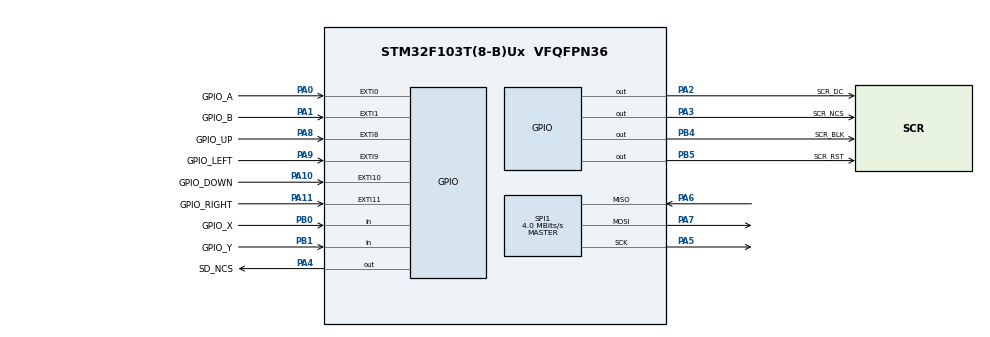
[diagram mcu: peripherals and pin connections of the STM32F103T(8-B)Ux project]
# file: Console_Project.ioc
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FATFS._MAX_SS=4096
FATFS._USE_LFN=1
Mcu.Family=STM32F1
Mcu.Name=STM32F103T(8-B)Ux
Mcu.Package=VFQFPN36
NVIC.EXTI0_IRQn=true\:0\:0\:false\:false\:true\:true\:true\:true
NVIC.EXTI15_10_IRQn=true\:0\:0\:false\:false\:true\:true\:true\:true
NVIC.EXTI1_IRQn=true\:0\:0\:false\:false\:true\:true\:true\:true
NVIC.EXTI9_5_IRQn=true\:0\:0\:false\:false\:true\:true\:true\:true
NVIC.PriorityGroup=NVIC_PRIORITYGROUP_4
PA0-WKUP.GPIO_Label=GPIO_A
PA0-WKUP.Signal=GPXTI0
PA1.GPIO_Label=GPIO_B
PA1.Signal=GPXTI1
PA10.GPIO_Label=GPIO_DOWN
PA10.Signal=GPXTI10
PA11.GPIO_Label=GPIO_RIGHT
PA11.Signal=GPXTI11
PA13.Mode=Trace_Asynchronous_SW
PA13.Signal=SYS_JTMS-SWDIO
PA14.Mode=Trace_Asynchronous_SW
PA14.Signal=SYS_JTCK-SWCLK
PA2.GPIO_Label=SCR_DC
PA2.Signal=GPIO_Output
PA3.GPIO_Label=SCR_NCS
PA3.Signal=GPIO_Output
PA4.GPIO_Label=SD_NCS
PA4.Signal=GPIO_Output
PA5.Mode=Full_Duplex_Master
PA5.Signal=SPI1_SCK
PA6.Mode=Full_Duplex_Master
PA6.Signal=SPI1_MISO
PA7.Mode=Full_Duplex_Master
PA7.Signal=SPI1_MOSI
PA8.GPIO_Label=GPIO_UP
PA8.Signal=GPXTI8
PA9.GPIO_Label=GPIO_LEFT
PA9.Signal=GPXTI9
PB0.GPIO_Label=GPIO_X
PB0.Signal=GPIO_Input
PB1.GPIO_Label=GPIO_Y
PB1.Signal=GPIO_Input
PB3.Mode=Trace_Asynchronous_SW
PB3.Signal=SYS_JTDO-TRACESWO
PB4.GPIO_Label=SCR_BLK
PB4.Signal=GPIO_Output
PB5.GPIO_Label=SCR_RST
PB5.Signal=GPIO_Output
ProjectManager.HeapSize=0x200
ProjectManager.StackSize=0x400
ProjectManager.TargetToolchain=STM32CubeIDE
RCC.APB1Freq_Value=8000000
RCC.APB2Freq_Value=8000000
SPI1.BaudRatePrescaler=SPI_BAUDRATEPRESCALER_2
SPI1.CalculateBaudRate=4.0 MBits/s
SPI1.Direction=SPI_DIRECTION_2LINES
SPI1.Mode=SPI_MODE_MASTER
SPI1.VirtualType=VM_MASTER
VP_FATFS_VS_Generic.Mode=User_defined
board=custom

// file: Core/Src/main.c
/* USER CODE BEGIN Header */
/**
  ******************************************************************************
  * @file           : main.c
  * @brief          : Main program body
  ******************************************************************************
  * @attention
  *
  * Copyright (c) 2023 STMicroelectronics.
  * All rights reserved.
  *
  * This software is licensed under terms that can be found in the LICENSE file
  * in the root directory of this software component.
  * If no LICENSE file comes with this software, it is provided AS-IS.
  *
  ******************************************************************************
  */
/* USER CODE END Header */
#include "main.h"
#include "fatfs.h"
#include "ctype.h"
#include "stdlib.h"
/* USER CODE BEGIN Includes */
#include "ILI9341_interface.h"
/* USER CODE END Includes */

/* USER CODE BEGIN PD */
#define CMD_SOFTRST 0x01
#define CMD_COLADDRSET 0x2A
#define CMD_PAGADDRSET 0x2B
#define CMD_MEMWRCON 0x3C
#define CMD_DSPINVON 0x21
#define CMD_DSPINVOFF 0x20

#define STRTPG 320/2-20
#define ENDPG 320/2+20
#define STRTCL 240/2-20
#define ENDCL 240/2+20
/* USER CODE END PD */

SPI_HandleTypeDef hspi1;

/* USER CODE BEGIN PV */
// offsets
uint16_t start_pag = STRTPG;
uint16_t end_pag = ENDPG;
uint16_t start_col = STRTCL;
uint16_t end_col = ENDCL;

//colors
const uint16_t red_clr = (uint16_t) ((255<<11) | (0<<5) | 0);
const uint16_t white_clr = (uint16_t) ((255<<11) | (255<<5) | 255);
uint16_t selected_clr = RED_CLR;

/* USER CODE END PV */

void SystemClock_Config(void);
static void MX_GPIO_Init(void);
static void MX_SPI1_Init(void);

/* USER CODE BEGIN 0 */
FATFS fs; //FileSystem
FIL fil; //File
FRESULT fresult; //result
char buffer[1024]; // buffer read/write

UINT br, bw;

/* capacity related variables */
FATFS *pfs;
DWORD fre_clust;
uint32_t total, freespace;

/* buffer functions */
// returns buffer's data size
uint8_t buffSize(char *buff){
	int i = 0;
	while (*buff++ != '\0'){
		i++;
	}
	return i;
}
// clears buffer of data
uint8_t clearBuff(char *buff){
	int i = 0;
	while (*buff++ != '\0'){
		buffer[i] = '\0';
	}
	return i;
}

/* USER CODE END 0 */

int main(void)
{

  /* MCU Configuration--------------------------------------------------------*/

  /* Reset of all peripherals, Initializes the Flash interface and the Systick. */
  HAL_Init();

  /* USER CODE BEGIN Init */
  init_ILI9341(); //initialize screen
  /* USER CODE END Init */

  /* Configure the system clock */
  SystemClock_Config();

  /* Initialize all configured peripherals */
  MX_GPIO_Init();
  MX_SPI1_Init();
  MX_FATFS_Init();
  /* USER CODE BEGIN 2 */

  f_mount(pfs, "", 0);

  f_open(&fil, "color.txt", FA_OPEN_ALWAYS | FA_READ);
  f_read(&fil, buffer, fil.fsize, &br);

  int color_value = atoi(buffer); // convert buffer to integer

  if (color_value != 0) {
      // buffer contains a valid integer, assign to selected_clr
      selected_clr = (uint16_t)color_value;
  }
  else {
      // buffer does not contain a valid integer
      // handle error case
  }

  /* USER CODE END 2 */

  /* Infinite loop */
  while (1)
  {

  }
}

void SystemClock_Config(void)
{
  RCC_OscInitTypeDef RCC_OscInitStruct = {0};
  RCC_ClkInitTypeDef RCC_ClkInitStruct = {0};

  /** Initializes the RCC Oscillators according to the specified parameters
  * in the RCC_OscInitTypeDef structure.
  */
  RCC_OscInitStruct.OscillatorType = RCC_OSCILLATORTYPE_HSI;
  RCC_OscInitStruct.HSIState = RCC_HSI_ON;
  RCC_OscInitStruct.HSICalibrationValue = RCC_HSICALIBRATION_DEFAULT;
  RCC_OscInitStruct.PLL.PLLState = RCC_PLL_NONE;
  if (HAL_RCC_OscConfig(&RCC_OscInitStruct) != HAL_OK)
  {
    Error_Handler();
  }

  /** Initializes the CPU, AHB and APB buses clocks
  */
  RCC_ClkInitStruct.ClockType = RCC_CLOCKTYPE_HCLK|RCC_CLOCKTYPE_SYSCLK
                              |RCC_CLOCKTYPE_PCLK1|RCC_CLOCKTYPE_PCLK2;
  RCC_ClkInitStruct.SYSCLKSource = RCC_SYSCLKSOURCE_HSI;
  RCC_ClkInitStruct.AHBCLKDivider = RCC_SYSCLK_DIV1;
  RCC_ClkInitStruct.APB1CLKDivider = RCC_HCLK_DIV1;
  RCC_ClkInitStruct.APB2CLKDivider = RCC_HCLK_DIV1;

  if (HAL_RCC_ClockConfig(&RCC_ClkInitStruct, FLASH_LATENCY_0) != HAL_OK)
  {
    Error_Handler();
  }
}

static void MX_SPI1_Init(void)
{

  /* SPI1 parameter configuration*/
  hspi1.Instance = SPI1;
  hspi1.Init.Mode = SPI_MODE_MASTER;
  hspi1.Init.Direction = SPI_DIRECTION_2LINES;
  hspi1.Init.DataSize = SPI_DATASIZE_8BIT;
  hspi1.Init.CLKPolarity = SPI_POLARITY_LOW;
  hspi1.Init.CLKPhase = SPI_PHASE_1EDGE;
  hspi1.Init.NSS = SPI_NSS_SOFT;
  hspi1.Init.BaudRatePrescaler = SPI_BAUDRATEPRESCALER_2;
  hspi1.Init.FirstBit = SPI_FIRSTBIT_MSB;
  hspi1.Init.TIMode = SPI_TIMODE_DISABLE;
  hspi1.Init.CRCCalculation = SPI_CRCCALCULATION_DISABLE;
  hspi1.Init.CRCPolynomial = 10;
  if (HAL_SPI_Init(&hspi1) != HAL_OK)
  {
    Error_Handler();
  }

}

static void MX_GPIO_Init(void)
{
  GPIO_InitTypeDef GPIO_InitStruct = {0};

  /* GPIO Ports Clock Enable */
  __HAL_RCC_GPIOA_CLK_ENABLE();
  __HAL_RCC_GPIOB_CLK_ENABLE();

  /*Configure GPIO pin Output Level */
  HAL_GPIO_WritePin(GPIOA, SCR_DC_Pin|SCR_NCS_Pin|SD_NCS_Pin, GPIO_PIN_RESET);

  /*Configure GPIO pin Output Level */
  HAL_GPIO_WritePin(GPIOB, SCR_BLK_Pin|SCR_RST_Pin, GPIO_PIN_RESET);

  /*Configure GPIO pins : GPIO_A_Pin GPIO_B_Pin GPIO_UP_Pin GPIO_LEFT_Pin
                           GPIO_DOWN_Pin GPIO_RIGHT_Pin */
  GPIO_InitStruct.Pin = GPIO_A_Pin|GPIO_B_Pin|GPIO_UP_Pin|GPIO_LEFT_Pin
                          |GPIO_DOWN_Pin|GPIO_RIGHT_Pin;
  GPIO_InitStruct.Mode = GPIO_MODE_IT_RISING;
  GPIO_InitStruct.Pull = GPIO_NOPULL;
  HAL_GPIO_Init(GPIOA, &GPIO_InitStruct);

  /*Configure GPIO pins : SCR_DC_Pin SCR_NCS_Pin SD_NCS_Pin */
  GPIO_InitStruct.Pin = SCR_DC_Pin|SCR_NCS_Pin|SD_NCS_Pin;
  GPIO_InitStruct.Mode = GPIO_MODE_OUTPUT_PP;
  GPIO_InitStruct.Pull = GPIO_NOPULL;
  GPIO_InitStruct.Speed = GPIO_SPEED_FREQ_LOW;
  HAL_GPIO_Init(GPIOA, &GPIO_InitStruct);

  /*Configure GPIO pins : GPIO_X_Pin GPIO_Y_Pin */
  GPIO_InitStruct.Pin = GPIO_X_Pin|GPIO_Y_Pin;
  GPIO_InitStruct.Mode = GPIO_MODE_INPUT;
  GPIO_InitStruct.Pull = GPIO_NOPULL;
  HAL_GPIO_Init(GPIOB, &GPIO_InitStruct);

  /*Configure GPIO pins : SCR_BLK_Pin SCR_RST_Pin */
  GPIO_InitStruct.Pin = SCR_BLK_Pin|SCR_RST_Pin;
  GPIO_InitStruct.Mode = GPIO_MODE_OUTPUT_PP;
  GPIO_InitStruct.Pull = GPIO_NOPULL;
  GPIO_InitStruct.Speed = GPIO_SPEED_FREQ_LOW;
  HAL_GPIO_Init(GPIOB, &GPIO_InitStruct);

  /* EXTI interrupt init*/
  HAL_NVIC_SetPriority(EXTI0_IRQn, 0, 0);
  HAL_NVIC_EnableIRQ(EXTI0_IRQn);

  HAL_NVIC_SetPriority(EXTI1_IRQn, 0, 0);
  HAL_NVIC_EnableIRQ(EXTI1_IRQn);

  HAL_NVIC_SetPriority(EXTI9_5_IRQn, 0, 0);
  HAL_NVIC_EnableIRQ(EXTI9_5_IRQn);

  HAL_NVIC_SetPriority(EXTI15_10_IRQn, 0, 0);
  HAL_NVIC_EnableIRQ(EXTI15_10_IRQn);

}

/* USER CODE BEGIN 4 */
void HAL_GPIO_EXTI_Callback(uint16_t GPIO_Pin){
	 if(GPIO_Pin == GPIO_A_Pin) // check if GPIO_A is pressed
	  {
	    // handle GPIO_A press
		 displayInversionON();
	  }
	  else if(GPIO_Pin == GPIO_B_Pin) // check if GPIO_B is pressed
	  {
	    // handle GPIO_B press
		  displayInversionOFF();
	  }
	  else if(GPIO_Pin >= GPIO_UP_Pin && GPIO_Pin <= GPIO_LEFT_Pin) // check if GPIO_UP or GPIO_LEFT is pressed
	  {
		  ClearScreen(selected_clr, start_col, end_col, start_pag, end_pag);
	    if(HAL_GPIO_ReadPin(GPIOA, GPIO_UP_Pin) == GPIO_PIN_SET) // check if GPIO_UP is pressed
	    {
	      // handle GPIO_UP press
	    	start_pag--;
	    	end_pag--;
	    	columnAddressSet(start_col, end_col);
	    	pageAddressSet(start_pag, end_pag);
	    	writeMemoryContinue(selected_clr, start_col, end_col, start_pag, end_pag);

	    }
	    else if(HAL_GPIO_ReadPin(GPIOA,GPIO_LEFT_Pin) == GPIO_PIN_SET) // check if GPIO_LEFT is pressed
	    {
	      // handle GPIO_LEFT press
	    	start_col--;
	    	end_col--;
	    	columnAddressSet(start_col, end_col);
	    	pageAddressSet(start_pag, end_pag);
	    	writeMemoryContinue(selected_clr, start_col, end_col, start_pag, end_pag);
	    }
	  }
	  else if(GPIO_Pin >= GPIO_DOWN_Pin && GPIO_Pin <= GPIO_RIGHT_Pin) // check if GPIO_DOWN or GPIO_RIGHT is pressed
	  {
		  ClearScreen(selected_clr, start_col, end_col, start_pag, end_pag);
	    if(HAL_GPIO_ReadPin(GPIOA, GPIO_DOWN_Pin) == GPIO_PIN_SET) // check if GPIO_DOWN is pressed
	    {
	      // handle GPIO_DOWN press
	    	start_pag++;
	    	end_pag++;
	    	columnAddressSet(start_col, end_col);
	    	pageAddressSet(start_pag, end_pag);
	    	writeMemoryContinue(selected_clr, start_col, end_col, start_pag, end_pag);
	    }
	    else if(HAL_GPIO_ReadPin(GPIOA, GPIO_RIGHT_Pin) == GPIO_PIN_SET) // check if GPIO_RIGHT is pressed
	    {
	      // handle GPIO_RIGHT press
	    	start_col++;
	    	end_col++;
	    	columnAddressSet(start_col, end_col);
	    	pageAddressSet(start_pag, end_pag);
	    	writeMemoryContinue(selected_clr, start_col, end_col, start_pag, end_pag);
	    }
	  }
}
/* USER CODE END 4 */

void Error_Handler(void)
{
  __disable_irq();
  while (1)
  {
  }
}
